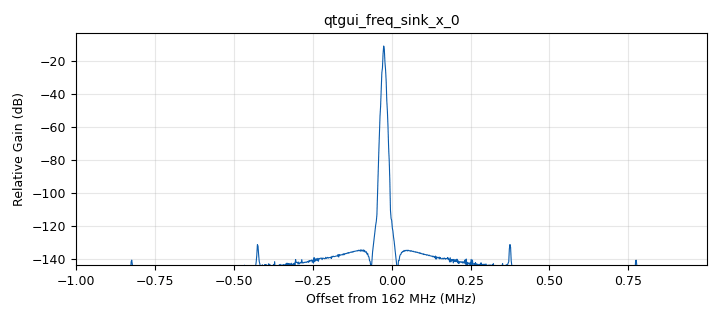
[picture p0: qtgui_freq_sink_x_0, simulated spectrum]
options:
  parameters:
    category: Custom
    generate_options: qt_gui
    id: top_block
    output_language: python
  states: {}

blocks:
- name: bit_rate
  id: variable
  parameters:
    value: '9600'
  states: {}
- name: center_freq
  id: variable
  parameters:
    value: 162e6
  states: {}
- name: channel_select
  id: variable_qtgui_chooser
  parameters:
    num_opts: '3'
    option0: '0'
    option1: '1'
    option2: '2'
    type: int
    value: '0'
  states: {}
- name: latitude
  id: variable_qtgui_range
  parameters:
    orient: Qt.Horizontal
    start: '-90'
    step: '0.1'
    stop: '90'
    value: '63.044153'
  states: {}
- name: longitude
  id: variable_qtgui_range
  parameters:
    orient: Qt.Horizontal
    start: '-180'
    step: '0.1'
    stop: '180'
    value: '9.344559'
  states: {}
- name: samp_rate
  id: variable
  parameters:
    value: 2e6
  states: {}
- name: speed
  id: variable_qtgui_range
  parameters:
    label: Speed
    orient: Qt.Horizontal
    start: '0'
    step: '1'
    stop: '102'
    value: '7'
  states: {}
- name: status
  id: variable_qtgui_chooser
  parameters:
    label: Status
    labels: '["Under way using engine","At anchor","Not under command","Restricted manoeuverability","Constrained by her draught","Moored","Aground","Engaged in Fishing","Under way sailing","Power-driven vessel towing astern (regional use)","Power-driven vessel pushing ahead or towing alongside (regional use).","AIS-SART is active","Ubdefined (default)"]'
    num_opts: '0'
    options: '[0, 1, 2,3,4,5,6,7,8,11,12,14,15]'
    type: int
    value: '15'
  states: {}
- name: true_heading
  id: variable_qtgui_range
  parameters:
    label: True Heading
    orient: Qt.Horizontal
    start: '0'
    step: '1'
    stop: '359'
    value: '0'
  states: {}
- name: AISTX_Build_Frame_0
  id: AISTX_Build_Frame
  parameters:
    enable_NRZI: 'True'
    repeat: 'True'
    sentence: '000001000011101011110111001110011010101111100000000001000110000000101010110001101010011110011000101000010100101111000010111011101111111111001100000000000000000000000000'
  states: {state: disabled}
- name: AISTX_Build_Frame_1
  id: AISTX_Build_Frame
  parameters:
    enable_NRZI: 'True'
    repeat: 'True'
    sentence: '000001000011101011110111001110011010101111100000000001000110000000101010110001101010011110011000101000010100101111000010111011101111111111001100000000000000000000000000'
  states: {state: disabled}
- name: analog_sig_source_x_0
  id: analog_sig_source_x
  parameters:
    amp: '1'
    freq: '-25000'
    offset: '0'
    phase: '0'
    samp_rate: samp_rate
    type: complex
    waveform: analog.GR_SIN_WAVE
  states: {}
- name: analog_sig_source_x_0_0
  id: analog_sig_source_x
  parameters:
    amp: '1'
    freq: '25000'
    offset: '0'
    phase: '0'
    samp_rate: samp_rate
    type: complex
    waveform: analog.GR_SIN_WAVE
  states: {}
- name: blocks_add_xx_0
  id: blocks_add_xx
  parameters:
    type: complex
  states: {}
- name: blocks_multiply_const_vxx_0
  id: blocks_multiply_const_vxx
  parameters:
    const: '0.45'
    type: complex
  states: {}
- name: blocks_multiply_const_vxx_0_0
  id: blocks_multiply_const_vxx
  parameters:
    const: '0.45'
    type: complex
  states: {}
- name: blocks_multiply_const_vxx_0_1
  id: blocks_multiply_const_vxx
  parameters:
    const: '0.9'
    type: complex
  states: {}
- name: blocks_multiply_const_vxx_0_1_0
  id: blocks_multiply_const_vxx
  parameters:
    const: '0.9'
    type: complex
  states: {}
- name: blocks_multiply_xx_0
  id: blocks_multiply_xx
  parameters:
    type: complex
  states: {}
- name: blocks_multiply_xx_0_0
  id: blocks_multiply_xx
  parameters:
    type: complex
  states: {}
- name: blocks_null_sink_0
  id: blocks_null_sink
  parameters:
    type: byte
  states: {state: disabled}
- name: blocks_selector_0
  id: blocks_selector
  parameters:
    enabled: 'True'
    input_index: channel_select
    num_inputs: '3'
    num_outputs: '1'
    output_index: '0'
    type: complex
  states: {}
- name: digital_gmsk_mod_0
  id: digital_gmsk_mod
  parameters:
    bt: '0.4'
    samples_per_symbol: int(samp_rate/bit_rate)
  states: {}
- name: digital_gmsk_mod_0_0
  id: digital_gmsk_mod
  parameters:
    bt: '0.4'
    samples_per_symbol: int(samp_rate/bit_rate)
  states: {}
- name: epy_block_0
  id: epy_block
  parameters:
    _source_code: "\"\"\"\nEmbedded Python Blocks:\n\nEach time this file is saved, GRC will instantiate the first class it finds\nto get ports and parameters of your block. The arguments to __init__  will\nbe the parameters. All of them are required to have default values!\n\"\"\"\n\nimport numpy as np\nfrom gnuradio import gr\nimport time\n\nresult = []\n\nclass blk(gr.basic_block):  # other base classes are basic_block, decim_block, interp_block\n    \"\"\"Embedded Python Block example - a simple multiply const\"\"\"\n\n    def __init__(self, repeat=0, mmsi=247320162, status=15, rot=128, speed=0.1, accuracy=0, longitude=9.344559, latitude=63.044153, course=83.4, true_heading=511, ts=38, flags=0, rstatus=0):  # only default arguments here\n        \"\"\"arguments to this function show up as parameters in GRC\"\"\"\n        gr.sync_block.__init__(\n            self,\n            name='AIS Framebuilder',   # will show up in GRC\n            in_sig=None,\n            out_sig=[np.byte]\n        )\n        # if an attribute with the same name as a parameter is found,\n        # a callback is registered (properties work, too).\n        #self.example_param = example_param\n        self.repeat = repeat\n        self.mmsi = mmsi\n        self.status = status\n        self.rot = rot\n        self.speed = speed\n        self.accuracy = accuracy\n        self.longitude = longitude\n        self.latitude = latitude\n        self.course = course\n        self.true_heading = true_heading\n        self.ts = ts\n        self.flags = flags\n        self.rstatus = rstatus\n\n    def generate_payload(self, repeat, mmsi, status, rot, speed, accuracy, lng, lat, course, true_heading, ts, flags, rstatus):\n        msg_type = \"000001\"\n        repeat = bin(repeat)[2:].rjust(2, \"0\") #2\n        mmsi =  bin(mmsi)[2:].rjust(30, \"0\") #30\n        status = bin(status)[2:].rjust(4, \"0\") #4\n        rot =   bin(rot)[2:].rjust(8, \"0\") #8\n        speed = bin(round(speed*10))[2:].rjust(10, \"0\") # 10\n        accuracy = bin(accuracy)[2:].rjust(1, \"0\") #1\n        longitude = '{0:b}'.format(int(round(lng*600000)) & 0b1111111111111111111111111111).rjust(28,'0')\n        latitude =  '{0:b}'.format(int(round(lat*600000)) & 0b111111111111111111111111111).rjust(27,'0')\n        course = bin(round(course*10))[2:].rjust(12, \"0\") #12\n        true_heading = bin(true_heading)[2:].rjust(9, \"0\") #9\n        ts = bin(ts)[2:].rjust(6, \"0\") #6\n        flags = bin(flags)[2:].rjust(6, \"0\") #6\n        rstatus = bin(rstatus)[2:].rjust(19, \"0\") #19\n        return msg_type+repeat+mmsi+status+rot+speed+accuracy+longitude+latitude+course+true_heading+ts+flags+rstatus\n\n    \n\n    CRC16_XMODEM_TABLE = [\n        0x0000, 0x1189, 0x2312, 0x329B, 0x4624, 0x57AD, 0x6536, 0x74BF,\n        0x8C48, 0x9DC1, 0xAF5A, 0xBED3, 0xCA6C, 0xDBE5, 0xE97E, 0xF8F7,\n        0x1081, 0x0108, 0x3393, 0x221A, 0x56A5, 0x472C, 0x75B7, 0x643E,\n        0x9CC9, 0x8D40, 0xBFDB, 0xAE52, 0xDAED, 0xCB64, 0xF9FF, 0xE876,\n        0x2102, 0x308B, 0x0210, 0x1399, 0x6726, 0x76AF, 0x4434, 0x55BD,\n        0xAD4A, 0xBCC3, 0x8E58, 0x9FD1, 0xEB6E, 0xFAE7, 0xC87C, 0xD9F5,\n        0x3183, 0x200A, 0x1291, 0x0318, 0x77A7, 0x662E, 0x54B5, 0x453C,\n        0xBDCB, 0xAC42, 0x9ED9, 0x8F50, 0xFBEF, 0xEA66, 0xD8FD, 0xC974,\n        0x4204, 0x538D, 0x6116, 0x709F, 0x0420, 0x15A9, 0x2732, 0x36BB,\n        0xCE4C, 0xDFC5, 0xED5E, 0xFCD7, 0x8868, 0x99E1, 0xAB7A, 0xBAF3,\n        0x5285, 0x430C, 0x7197, 0x601E, 0x14A1, 0x0528, 0x37B3, 0x263A,\n        0xDECD, 0xCF44, 0xFDDF, 0xEC56, 0x98E9, 0x8960, 0xBBFB, 0xAA72,\n        0x6306, 0x728F, 0x4014, 0x519D, 0x2522, 0x34AB, 0x0630, 0x17B9,\n        0xEF4E, 0xFEC7, 0xCC5C, 0xDDD5, 0xA96A, 0xB8E3, 0x8A78, 0x9BF1,\n        0x7387, 0x620E, 0x5095, 0x411C, 0x35A3, 0x242A, 0x16B1, 0x0738,\n        0xFFCF, 0xEE46, 0xDCDD, 0xCD54, 0xB9EB, 0xA862, 0x9AF9, 0x8B70,\n        0x8408, 0x9581, 0xA71A, 0xB693, 0xC22C, 0xD3A5, 0xE13E, 0xF0B7,\n        0x0840, 0x19C9, 0x2B52, 0x3ADB, 0x4E64, 0x5FED, 0x6D76, 0x7CFF,\n        0x9489, 0x8500, 0xB79B, 0xA612, 0xD2AD, 0xC324, 0xF1BF, 0xE036,\n        0x18C1, 0x0948, 0x3BD3, 0x2A5A, 0x5EE5, 0x4F6C, 0x7DF7, 0x6C7E,\n        0xA50A, 0xB483, 0x8618, 0x9791, 0xE32E, 0xF2A7, 0xC03C, 0xD1B5,\n        0x2942, 0x38CB, 0x0A50, 0x1BD9, 0x6F66, 0x7EEF, 0x4C74, 0x5DFD,\n        0xB58B, 0xA402, 0x9699, 0x8710, 0xF3AF, 0xE226, 0xD0BD, 0xC134,\n        0x39C3, 0x284A, 0x1AD1, 0x0B58, 0x7FE7, 0x6E6E, 0x5CF5, 0x4D7C,\n        0xC60C, 0xD785, 0xE51E, 0xF497, 0x8028, 0x91A1, 0xA33A, 0xB2B3,\n        0x4A44, 0x5BCD, 0x6956, 0x78DF, 0x0C60, 0x1DE9, 0x2F72, 0x3EFB,\n        0xD68D, 0xC704, 0xF59F, 0xE416, 0x90A9, 0x8120, 0xB3BB, 0xA232,\n        0x5AC5, 0x4B4C, 0x79D7, 0x685E, 0x1CE1, 0x0D68, 0x3FF3, 0x2E7A,\n        0xE70E, 0xF687, 0xC41C, 0xD595, 0xA12A, 0xB0A3, 0x8238, 0x93B1,\n        0x6B46, 0x7ACF, 0x4854, 0x59DD, 0x2D62, 0x3CEB, 0x0E70, 0x1FF9,\n        0xF78F, 0xE606, 0xD49D, 0xC514, 0xB1AB, 0xA022, 0x92B9, 0x8330,\n        0x7BC7, 0x6A4E, 0x58D5, 0x495C, 0x3DE3, 0x2C6A, 0x1EF1, 0x0F78\n        ]\n\n\n    def _crc16(self, data, crc, table):\n        \"\"\"Calculate CRC16 using the given table.\n        `data`      - data for calculating CRC, must be bytes\n        `crc`       - initial value\n        `table`     - table for caclulating CRC (list of 256 integers)\n        Return calculated value of CRC\n        \"\"\"\n        for byte in data:\n            crc = (crc >> 8) ^ table[(crc ^ byte) & 0xff]\n\n        crc = (crc & 0xffff) ^ 0xffff  # integer\n\n        #crc = reverse_bit_order((crc).to_bytes(2, 'big'))  # revert crc bit in byte\n        crc = self.bytes_to_bitstring((crc).to_bytes(2, 'big'))\n\n        first = crc[:8]\n\n        last = crc[8:]\n\n        crc = last + first  # swap the two crc byte\n\n        return int(crc,2).to_bytes(2,'big')\n\n\n    def crc16xmodem(self, data, crc=65535):  # 0xffff\n        \"\"\"Calculate CRC-CCITT (XModem) variant of CRC16.\n        `data`      - data for calculating CRC, must be bytes\n        `crc`       - initial value\n        Return calculated value of CRC\n        \"\"\"\n        return self._crc16(data, crc, self.CRC16_XMODEM_TABLE)\n\n    def bytes_to_bitstring(self, bytes):\n\n        return bin(int.from_bytes(bytes, 'big'))[2:].rjust(len(bytes)*8,'0')  # converts bytes to string of bits   b'\\x04'   ->   \"00000100\"\n\n    def bitStuffing(self, bitstring):\n\n        consecutives = 0\n        for i in range(len(bitstring)):\n            if bitstring[i] == '1':\n                consecutives += 1\n            else: consecutives = 0\n\n            if consecutives == 5:\n                bitstring = bitstring[:i+1] + '0' + bitstring[i+1:]\n\n        return bitstring\n\n    def padd_frame(self, frame, length=256):\n        return frame.ljust(length, '0')\n\n    def nrz_to_nrzi(self, input):\n        prev_nrzi_bit = 0\n        length = len(input)\n        result = [0]*length\n\n        for i in range(length):\n            nrz_bit = input[i]\n            \n            if nrz_bit == '0':\n                nrzi_bit = prev_nrzi_bit ^ 1\n            else:\n                nrzi_bit = prev_nrzi_bit\n            \n            result[i] = str(nrzi_bit)\n            prev_nrzi_bit = nrzi_bit\n\n        return ''.join(result)\n\n    def reverse_bit_order(self, bytes):\n\n        bitstring = self.bytes_to_bitstring(bytes)\n\n        for i in range(0,len(bitstring),8):\n            block = bitstring[i:i+8]\n            bitstring = bitstring[:i] + block[::-1] + bitstring[i+8:]\n\n        return bitstring\n\n    def append_bytes_together(self, bytes1, bytes2):\n        result = bytearray(bytes1)\n        for byte in bytes2:\n            result.append(byte)\n\n        return result\n    \n    def bitstring_to_bytes(self, bitstring):\n        result = bytearray()\n\n        for i in range(0, len(bitstring), 8):\n            single = int(bitstring[i:i+8],2).to_bytes(1, 'big')\n            result = self.append_bytes_together(result, single)\n\n        return result\n        \n    def build_frame(self):\n        global result\n        \n        preamble = \"101010101010101010101010\"\n        start_flag = \"01111110\"\n        end_flag = start_flag\n\n        bitstring_payload = self.generate_payload(self.repeat, self.mmsi, self.status, self.rot, self.speed, self.accuracy, self.longitude, self.latitude, self.course, self.true_heading, self.ts, self.flags, self.rstatus)\n        int_payload = int(bitstring_payload, 2)\n        byte_payload = int_payload.to_bytes(len(bitstring_payload)//8,'big')\n\n        crc = self.crc16xmodem(byte_payload)\n\n        payload_crc = self.append_bytes_together(byte_payload, crc)\n\n        payload_crc = self.reverse_bit_order(payload_crc)\n\n        stuffed_payload = self.bitStuffing(payload_crc)\n\n        padded_frame = self.padd_frame(preamble+start_flag+stuffed_payload+end_flag)\n\n        final_frame = self.nrz_to_nrzi(padded_frame)\n        \n        result = [k for k in self.bitstring_to_bytes(final_frame)]\n\n    def work(self, input_items, output_items):\n    \n        #print(\"Buffer:  \"+ str(len(output_items[0])))\n        \n        time.sleep(1)\n        \n        global result\n        \n        self.build_frame()\n        \n        if len(output_items[0]) >= len(result):\n        \n            for i in range(len(result)):\n                output_items[0][i] = result[i]\n            \n            output_length = len(result)\n            \n        else:\n            output_length = 0\n        \n        return output_length\n        \n"
    accuracy: '0'
    course: '83.4'
    flags: '0'
    latitude: latitude
    longitude: longitude
    mmsi: '247320162'
    repeat: '0'
    rot: '128'
    rstatus: '0'
    speed: speed
    status: status
    true_heading: true_heading
    ts: '38'
  states: {}
- name: epy_block_1
  id: epy_block
  parameters:
    _source_code: |
      """
      Embedded Python Blocks:

      Each time this file is saved, GRC will instantiate the first class it finds
      to get ports and parameters of your block. The arguments to __init__  will
      be the parameters. All of them are required to have default values!
      """

      import numpy as np
      from gnuradio import gr


      class blk(gr.sync_block):  # other base classes are basic_block, decim_block, interp_block
          """Embedded Python Block example - a simple multiply const"""

          def __init__(self, example_param=1.0):  # only default arguments here
              """arguments to this function show up as parameters in GRC"""
              gr.sync_block.__init__(
                  self,
                  name='Embedded Python Block',   # will show up in GRC
                  in_sig=[np.byte],
                  out_sig=[np.byte]
              )
              # if an attribute with the same name as a parameter is found,
              # a callback is registered (properties work, too).
              self.example_param = example_param

          def work(self, input_items, output_items):
              """example: multiply with constant"""
              output_items[0][:] = input_items[0]
              
              print("IN:  ",input_items)
              
              
              return len(output_items[0])
    example_param: '1.0'
  states: {state: disabled}
- name: epy_block_2
  id: epy_block
  parameters:
    _source_code: |
      """
      Morse code vector source
      """

      #  epy_block_0.py
      #  revised 09/10/2019 - finish code table
      #  revised 09/11/2019 - test for bad character
      #  revised 09/27/2019 - get input from a Message Edit block (code from Volker Schroer dl1ksv)

      import numpy as np
      from gnuradio import gr

      import pmt

      textboxValue = ""

      Morse = {
        # codes from https://www.itu.int/rec/R-REC-M.1677-1-200910-I/en
          "A": "1,0,1,1,1",
          "B": "1,1,1,0,1,0,1,0,1",
          "C": "1,1,1,0,1,0,1,1,1,0,1",
          "D": "1,1,1,0,1,0,1",
          "E": "1",
          "F": "1,0,1,0,1,1,1,0,1",
          "G": "1,1,1,0,1,1,1,0,1",
          "H": "1,0,1,0,1,0,1",
          "I": "1,0,1",
          "J": "1,0,1,1,1,0,1,1,1,0,1,1,1",
          "K": "1,1,1,0,1,0,1,1,1",
          "L": "1,0,1,1,1,0,1,0,1",
          "M": "1,1,1,0,1,1,1",
          "N": "1,1,1,0,1",
          "O": "1,1,1,0,1,1,1,0,1,1,1",
          "P": "1,0,1,1,1,0,1,1,1,0,1",
          "Q": "1,1,1,0,1,1,1,0,1,0,1,1,1",
          "R": "1,0,1,1,1,0,1",
          "S": "1,0,1,0,1",
          "T": "1,1,1",
          "U": "1,0,1,0,1,1,1",
          "V": "1,0,1,0,1,0,1,1,1",
          "W": "1,0,1,1,1,0,1,1,1",
          "X": "1,1,1,0,1,0,1,0,1,1,1",
          "Y": "1,1,1,0,1,0,1,1,1,0,1,1,1",
          "Z": "1,1,1,0,1,1,1,0,1,0,1",
          " ": "0",            # space
          "1": "1,0,1,1,1,0,1,1,1,0,1,1,1,0,1,1,1",
          "2": "1,0,1,0,1,1,1,0,1,1,1,0,1,1,1",
          "3": "1,0,1,0,1,0,1,1,1,0,1,1,1",
          "4": "1,0,1,0,1,0,1,0,1,1,1",
          "5": "1,0,1,0,1,0,1,0,1",
          "6": "1,1,1,0,1,0,1,0,1,0,1",
          "7": "1,1,1,0,1,1,1,0,1,0,1,0,1",
          "8": "1,1,1,0,1,1,1,0,1,1,1,0,1,0,1",
          "9": "1,1,1,0,1,1,1,0,1,1,1,0,1,1,1,0,1",
          "0": "1,1,1,0,1,1,1,0,1,1,1,0,1,1,1,0,1,1,1",
          ".": "1,0,1,1,1,0,1,0,1,1,1,0,1,0,1,1,1",          # period
          ",": "1,1,1,0,1,1,1,0,1,0,1,0,1,1,1,0,1,1,1",      # comma
          ":": "1,1,1,0,1,1,1,0,1,1,1,0,1,0,1,0,1",          # colon
          "?": "1,0,1,0,1,1,1,0,1,1,1,0,1,0,1",              # question
          "'": "1,0,1,1,1,0,1,1,1,0,1,1,1,0,1,1,1,0,1",      # apostrophe
          "-": "1,1,1,0,1,0,1,0,1,0,1,0,1,1,1",              # dash or minus
          "/": "1,1,1,0,1,0,1,0,1,1,1,0,1",                  # slash
          "(": "1,1,1,0,1,0,1,1,1,0,1,1,1,0,1",              # left parenthesis
          ")": "1,1,1,0,1,0,1,1,1,0,1,1,1,0,1,0,1,1,1",      # right parenthesis
          "\"": "1,0,1,1,1,0,1,0,1,0,1,1,1,0,1",             # quote
          "=": "1,1,1,0,1,0,1,0,1,0,1,1,1",                  # equals
          "+": "1,0,1,1,1,0,1,0,1,1,1,0,1",                  # plus
          "@": "1,0,1,1,1,0,1,1,1,0,1,0,1,1,1,0,1",          # at sign (@)
        # these punctuation marks are not included in the ITU recommendation,
        # but are found in https://en.wikipedia.org/wiki/Morse_code
          "!": "1,1,1,0,1,0,1,1,1,0,1,0,1,1,1,0,1,1,1",      # exclamation point
          "&": "1,0,1,1,1,0,1,0,1,0,1",                      # ampersand (also prosign for 'WAIT')
          ";": "1,1,1,0,1,0,1,1,1,0,1,0,1,1,1,0,1",          # semicolon
          "_": "1,0,1,0,1,1,1,0,1,1,1,0,1,0,1,1,1",          # underscore
          "$": "1,0,1,0,1,0,1,1,1,0,1,0,1,0,1,1,1"           # dollar sign
            }

      class mc_sync_block(gr.sync_block):
          """
          reads input from a message port
          generates a vector of Morse code bits
          """
          def __init__(self):
              gr.sync_block.__init__(self,
                  name = "Morse code vector source",
                  in_sig = None,
                  out_sig = [np.byte])
              self.message_port_register_in(pmt.intern('msg_in'))
              self.message_port_register_out(pmt.intern('clear_input'))
              self.set_msg_handler(pmt.intern('msg_in'), self.handle_msg)

          def handle_msg(self, msg):
              global textboxValue
              textboxValue = pmt.symbol_to_string (msg)
              # print (textboxValue)
          
          def work(self, input_items, output_items):
              global Morse
              global textboxValue
              bit_stream = ""
              
              if (len (textboxValue) > 0):
                  for in0 in textboxValue:
                      # get next char
                      inChar = str (in0)
                      # convert to upper case
                      ch = inChar.upper()
                      # test for character in table
                      if (not(ch in Morse)):
                      # print ("bad char", ch)
                          ch = "?"        # replace bad character with a '?'
                      # build vector
                      _dots = str (Morse.get(ch))
                      # print (ch, _dots)
                      bit_stream += (_dots + ",0,0,0,")    # letter space

                  bit_stream += "0,0,0,0"    # finish with word space
                  # print (bit_stream)

                  # get length of string
                  _len = len(bit_stream)
                  # num of elements = (length+1) / 2
                  _num_elem = int((_len+1) / 2)
                  print(bit_stream)
                  # convert and store elements in output array
                  for x in range (_len):
                      y = int(x / 2)
                      if (bit_stream[x] == '1'):
                          output_items[0][y] = 1
                      elif (bit_stream[x] == '0'):
                          output_items[0][y] = 0
                      else:
                          continue    # skip commas

                  # clear input line
                  #textboxValue = ""
                  #self.message_port_pub(pmt.intern('clear_input'), pmt.intern(''))
              else:
                  print("was zero")
                  _num_elem = 0
                  
              print(output_items[0], len(output_items[0]))

              return (_num_elem)
  states: {state: disabled}
- name: osmosdr_sink_0
  id: osmosdr_sink
  parameters:
    bb_gain0: '20'
    freq0: center_freq
    gain0: '10'
    if_gain0: '20'
    sample_rate: samp_rate
    sync: sync
    type: fc32
  states: {state: disabled}
- name: qtgui_edit_box_msg_0
  id: qtgui_edit_box_msg
  parameters:
    is_pair: 'False'
    key: fvdfggdf
    label: input
    type: string
    value: hello
  states: {state: disabled}
- name: qtgui_freq_sink_x_0
  id: qtgui_freq_sink_x
  parameters:
    autoscale: 'True'
    average: '0.1'
    bw: samp_rate
    fc: center_freq
    fftsize: '1024'
    grid: 'True'
    type: complex
    wintype: firdes.WIN_BLACKMAN_hARRIS
  states: {}
- name: uhd_usrp_sink_0
  id: uhd_usrp_sink
  parameters:
    ant0: TX/RX
    center_freq0: uhd.tune_request_t(162000000, 19000000)
    clock_rate: '0.0'
    dev_addr: ''
    dev_args: '""'
    gain0: '0'
    len_tag_name: ''
    norm_gain0: 'False'
    samp_rate: samp_rate
    sync: sync
    type: fc32
  states: {state: disabled}

connections:
- [AISTX_Build_Frame_0, '0', epy_block_1, '0']
- [AISTX_Build_Frame_1, '0', digital_gmsk_mod_0_0, '0']
- [analog_sig_source_x_0, '0', blocks_multiply_xx_0, '1']
- [analog_sig_source_x_0_0, '0', blocks_multiply_xx_0_0, '1']
- [blocks_add_xx_0, '0', blocks_selector_0, '1']
- [blocks_multiply_const_vxx_0, '0', blocks_add_xx_0, '0']
- [blocks_multiply_const_vxx_0_0, '0', blocks_add_xx_0, '1']
- [blocks_multiply_const_vxx_0_1, '0', blocks_selector_0, '0']
- [blocks_multiply_const_vxx_0_1_0, '0', blocks_selector_0, '2']
- [blocks_multiply_xx_0, '0', blocks_multiply_const_vxx_0, '0']
- [blocks_multiply_xx_0, '0', blocks_multiply_const_vxx_0_1, '0']
- [blocks_multiply_xx_0_0, '0', blocks_multiply_const_vxx_0_0, '0']
- [blocks_multiply_xx_0_0, '0', blocks_multiply_const_vxx_0_1_0, '0']
- [blocks_selector_0, '0', osmosdr_sink_0, '0']
- [blocks_selector_0, '0', qtgui_freq_sink_x_0, '0']
- [blocks_selector_0, '0', uhd_usrp_sink_0, '0']
- [digital_gmsk_mod_0, '0', blocks_multiply_xx_0, '0']
- [digital_gmsk_mod_0_0, '0', blocks_multiply_xx_0_0, '0']
- [epy_block_0, '0', digital_gmsk_mod_0, '0']
- [epy_block_0, '0', digital_gmsk_mod_0_0, '0']
- [epy_block_1, '0', blocks_null_sink_0, '0']
- [epy_block_1, '0', digital_gmsk_mod_0, '0']
- [epy_block_1, '0', digital_gmsk_mod_0_0, '0']
- [epy_block_2, '0', epy_block_1, '0']
- [epy_block_2, clear_input, qtgui_edit_box_msg_0, val]
- [qtgui_edit_box_msg_0, msg, epy_block_2, msg_in]

metadata:
  file_format: 1
